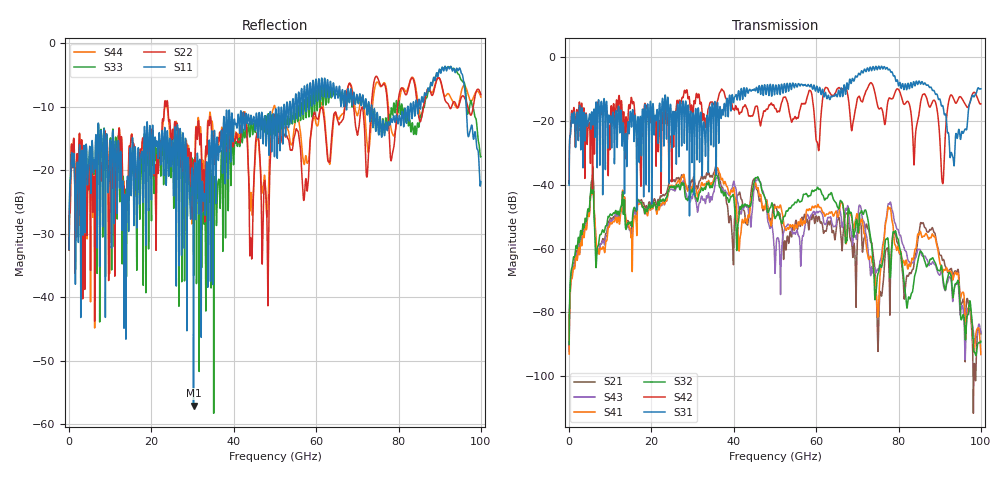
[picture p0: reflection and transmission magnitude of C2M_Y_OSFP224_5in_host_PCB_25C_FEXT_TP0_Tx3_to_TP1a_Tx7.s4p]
# GHz S RI R 45
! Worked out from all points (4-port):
!   4000 points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, 25 MHz to 100 GHz, reference 45 ohm
!   strongest paths, dB at 25 MHz, 25.02 GHz, 50.02 GHz, 75.03 GHz, 100 GHz:
!     S31: -40.1, -24.8, -10.3, -3.2, -9.9
!     S42: -39.6, -29.2, -16.0, -15.6, -14.6
!     S32: -90.2, -40.5, -50.6, -67.8, -89.1
!     S41: -93.1, -40.2, -46.8, -81.2, -93.3
!     S43: -92.2, -41.4, -67.8, -66.7, -86.4
!     S21: -91.6, -38.4, -46.7, -92.3, -86.8
!   lowest |S11| = -57.1 dB at 30.23 GHz (marker M1), VSWR 1.00, Z = 45.1 + j0.0201 ohm
!   |S11| at or under -10 dB: start of sweep to 52.15 GHz; 73.51 GHz to 82.23 GHz (8.722 GHz wide, 11.2 % of centre); 96.44 GHz to end of sweep (the widest 3 of 21)
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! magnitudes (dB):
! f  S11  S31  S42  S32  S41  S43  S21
! 25 MHz  -32.5  -40.1  -39.6  -90.2  -93.1  -92.2  -91.6
! 5.525 GHz  -16.2  -17.1  -19.6  -38.9  -39.3  -39.3  -38.9
! 30.23 GHz  -57.1  -18.2  -15.5  -40.4  -38.9  -41.7  -37.6
! 74.88 GHz  -11.1  -3.8  -14.9  -68.7  -80.2  -66.4  -86.3
! 77.85 GHz  -12.9  -3.7  -12.7  -65.0  -47.5  -45.9  -76.2
! 93.08 GHz  -4.4  -30.9  -12.2  -73.6  -69.6  -75.4  -68.2
! 100 GHz  -21.8  -9.9  -14.6  -89.1  -93.3  -86.4  -86.8
